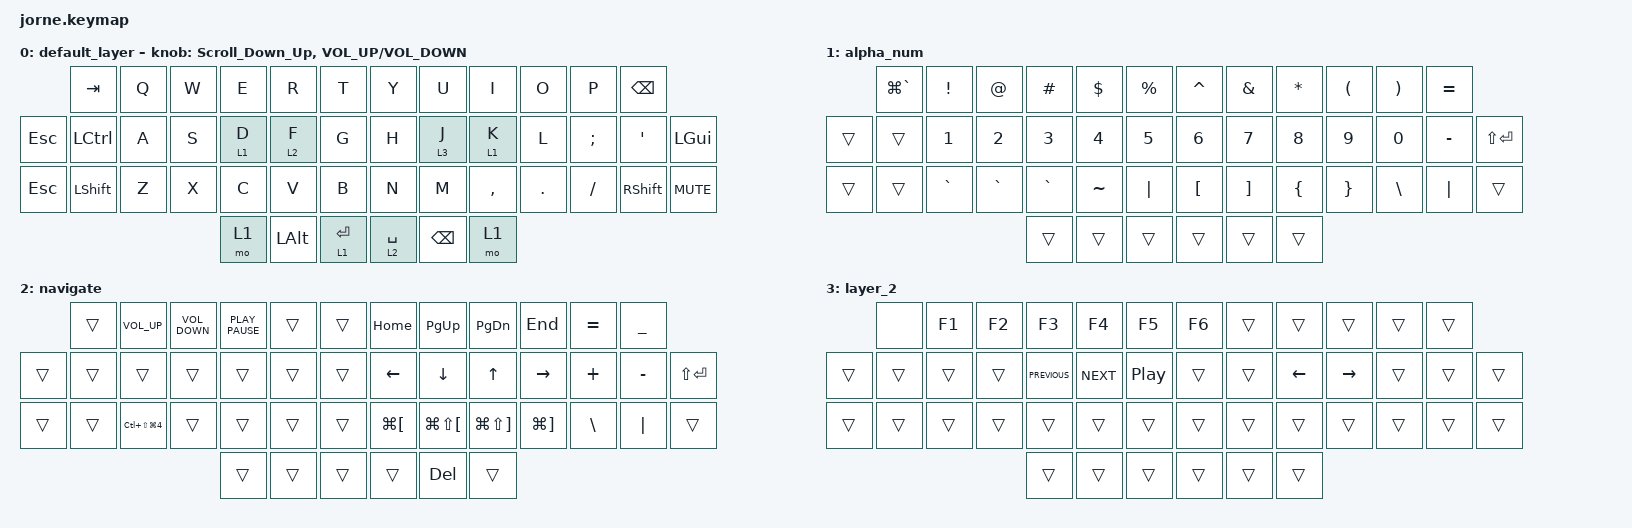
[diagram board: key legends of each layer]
/*
 * Copyright (c) 2020 The ZMK Contributors
 *
 * SPDX-License-Identifier: MIT
 */

#include <input/processors.dtsi>
#include <zephyr/dt-bindings/input/input-event-codes.h>
#include <dt-bindings/zmk/mouse.h>
#include <behaviors/mouse_keys.dtsi>
#include <behaviors.dtsi>
#include <dt-bindings/zmk/keys.h>
#include <dt-bindings/zmk/pointing.h>

#define ZMK_POINTING_DEFAULT_MOVE_VAL 1200
#define ZMK_POINTING_DEFAULT_SCRL_VAL 1000 // Higher = bigger scroll per event

&mmv_input_listener { input-processors = <&zip_xy_scaler 2 1>; };

&msc_input_listener { input-processors = <&zip_scroll_scaler 4 1>; };  // 4x multiplier
&msc {
    acceleration-exponent = <0>;      // 0 = uniform speed (constant, no acceleration)
    time-to-max-speed-ms = <0>;       // 0 = instant full speed, no ramp-up
    delay-ms = <0>;                   // no delay
};

&mmv {
    time-to-max-speed-ms = <500>;
    acceleration-exponent = <1>;
    trigger-period-ms = <16>;
};

/ {
    behaviors {
        Scroll_Down_Up: Scroll_Down_Up {
            compatible = "zmk,behavior-sensor-rotate";
            #sensor-binding-cells = <0>;
            bindings = <&msc SCRL_DOWN>, <&msc SCRL_UP>;

            tap-ms = <20>;
        };
    };

    keymap {
        compatible = "zmk,keymap";

        default_layer {
            bindings = <
         &kp TAB         &kp Q  &kp W  &kp E    &kp R         &kp T        &kp Y        &kp U          &kp I      &kp O    &kp P     &kp BACKSPACE
&kp ESC  &kp LCTRL       &kp A  &kp S  &lt 1 D  &lt 2 F       &kp G        &kp H        &lt 3 J        &lt 1 K    &kp L    &kp SEMI  &kp SQT        &kp LEFT_GUI
&kp ESC  &kp LEFT_SHIFT  &kp Z  &kp X  &kp C    &kp V         &kp B        &kp N        &kp M          &kp COMMA  &kp DOT  &kp FSLH  &kp RSHFT      &kp K_MUTE
                                       &mo 1    &kp LEFT_ALT  &lt 1 ENTER  &lt 2 SPACE  &kp BACKSPACE  &mo 1
            >;

            sensor-bindings =
                <&Scroll_Down_Up>,
                <&inc_dec_kp K_VOLUME_UP K_VOLUME_DOWN>;
        };

        alpha_num {
            bindings = <
        &kp LG(GRAVE)  &kp EXCLAMATION  &kp AT_SIGN  &kp HASH   &kp DOLLAR  &kp PERCENT  &kp CARET         &kp AMPERSAND      &kp ASTERISK    &kp LEFT_PARENTHESIS  &kp RIGHT_PARENTHESIS  &kp EQUAL
&trans  &trans         &kp N1           &kp N2       &kp N3     &kp N4      &kp N5       &kp N6            &kp N7             &kp N8          &kp N9                &kp N0                 &kp MINUS  &kp LS(RETURN)
&trans  &trans         &kp GRAVE        &kp GRAVE    &kp GRAVE  &kp TILDE   &kp PIPE     &kp LEFT_BRACKET  &kp RIGHT_BRACKET  &kp LEFT_BRACE  &kp RIGHT_BRACE       &kp BACKSLASH          &kp PIPE   &trans
                                                     &trans     &trans      &trans       &trans            &trans             &trans
            >;
        };

        navigate {
            bindings = <
        &trans  &kp C_VOLUME_UP           &kp C_VOLUME_DOWN  &kp K_PLAY_PAUSE  &trans  &trans  &kp HOME              &kp PAGE_UP               &kp PAGE_DOWN              &kp END                &kp EQUAL      &kp UNDER
&trans  &trans  &trans                    &trans             &trans            &trans  &trans  &kp LEFT              &kp DOWN                  &kp UP                     &kp RIGHT              &kp PLUS       &kp MINUS  &kp LS(ENTER)
&trans  &trans  &kp LC(LS(LG(NUMBER_4)))  &trans             &trans            &trans  &trans  &kp LG(LEFT_BRACKET)  &kp LG(LS(LEFT_BRACKET))  &kp LG(LS(RIGHT_BRACKET))  &kp LG(RIGHT_BRACKET)  &kp BACKSLASH  &kp PIPE   &trans
                                                             &trans            &trans  &trans  &trans                &kp DELETE                &trans
            >;
        };

        layer_2 {
            bindings = <
        &none   &kp F1  &kp F2  &kp F3          &kp F4      &kp F5            &kp F6  &trans  &trans    &trans     &trans  &trans
&trans  &trans  &trans  &trans  &kp C_PREVIOUS  &kp C_NEXT  &kp C_PLAY_PAUSE  &trans  &trans  &kp LEFT  &kp RIGHT  &trans  &trans  &trans
&trans  &trans  &trans  &trans  &trans          &trans      &trans            &trans  &trans  &trans    &trans     &trans  &trans  &trans
                                &trans          &trans      &trans            &trans  &trans  &trans
            >;
        };
    };
};
